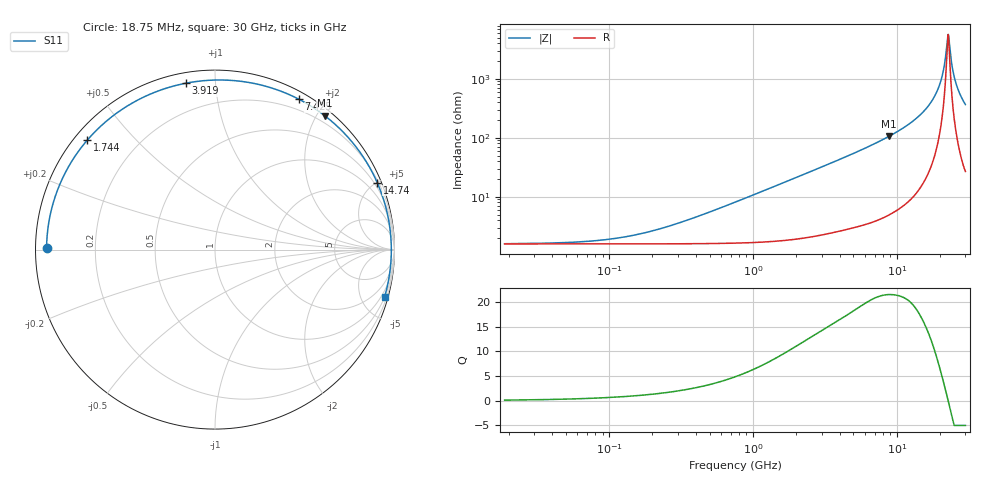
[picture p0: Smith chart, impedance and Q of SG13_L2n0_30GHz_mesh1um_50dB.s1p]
#  Hz  S  RI  R  50
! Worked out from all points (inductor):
!   1600 points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, 18.75 MHz to 30 GHz, reference 50 ohm
!   read as one part to ground: L = 1.68 nH near 468.8 MHz
!   highest Q = 21.5 at 8.812 GHz (marker M1), where L = 1.9 nH
!   self-resonance near 22.77 GHz
!   S11 on the Smith chart (normalised r, x): 18.75 MHz: 0.03, +0.00; 1.744 GHz: 0.04, +0.37; 3.919 GHz: 0.05, +0.84; 7.425 GHz: 0.08, +1.70; 14.74 GHz: 0.30, +5.03; 30 GHz: 0.54, -7.30
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1.875e7  -0.9384 0.00743
1.5e8  -0.9366 0.0594
4.125e8  -0.9242 0.1623
8.25e8  -0.8827 0.3175
1.25625e9  -0.814 0.4653
1.74375e9  -0.7125 0.6089
2.23125e9  -0.5945 0.7245
2.71875e9  -0.4685 0.8121
3.225e9  -0.3365 0.8763
3.76875e9  -0.1991 0.9192
3.91875e9  -0.1625 0.927
4.725e9  0.021 0.945
5.64375e9  0.2013 0.9288
6.50625e9  0.3428 0.8914
7.425e9  0.467 0.8381
7.51875e9  0.4782 0.8322
8.15625e9  0.5488 0.7905
8.8125e9  0.6115 0.7461
9.975e9  0.702 0.6669
1.126875e10  0.7788 0.5811
1.29e10  0.8494 0.4789
1.47375e10  0.9039 0.3729
1.501875e10  0.9104 0.3576
1.68e10  0.9434 0.2649
1.876875e10  0.9663 0.1707
2.251875e10  0.9823 0.0102
2.626875e10  0.973 -0.1324
3e10  0.9448 -0.2624
